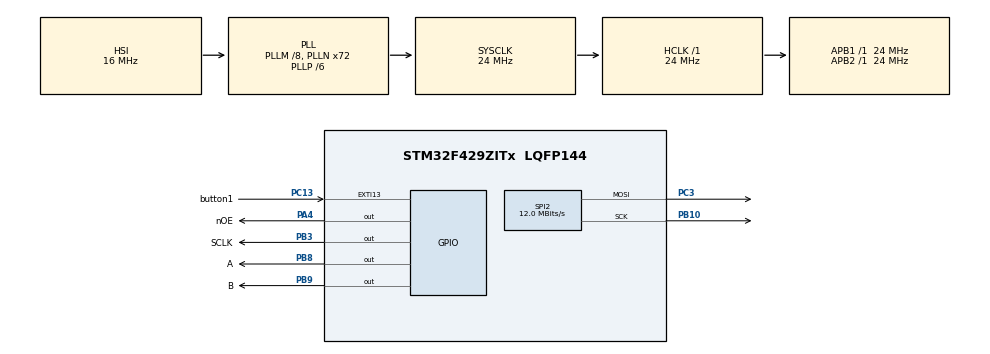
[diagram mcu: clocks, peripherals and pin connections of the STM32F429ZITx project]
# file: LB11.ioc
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Mcu.Family=STM32F4
Mcu.Name=STM32F429ZITx
Mcu.Package=LQFP144
NVIC.PriorityGroup=NVIC_PRIORITYGROUP_4
NVIC.TIM1_UP_TIM10_IRQn=true\:0\:0\:false\:false\:true\:true\:true\:true
PA13.Mode=Serial_Wire
PA13.Signal=SYS_JTMS-SWDIO
PA14.Mode=Serial_Wire
PA14.Signal=SYS_JTCK-SWCLK
PA4.GPIO_Label=nOE
PA4.Signal=GPIO_Output
PB10.Mode=TX_Only_Simplex_Unidirect_Master
PB10.Signal=SPI2_SCK
PB3.GPIO_Label=SCLK
PB3.Signal=GPIO_Output
PB8.GPIO_Label=A
PB8.Signal=GPIO_Output
PB9.GPIO_Label=B
PB9.Signal=GPIO_Output
PC13.GPIO_Label=button1
PC13.Signal=GPXTI13
PC3.Mode=TX_Only_Simplex_Unidirect_Master
PC3.Signal=SPI2_MOSI
PH0/OSC_IN.Mode=HSE-External-Oscillator
PH0/OSC_IN.Signal=RCC_OSC_IN
PH1/OSC_OUT.Mode=HSE-External-Oscillator
PH1/OSC_OUT.Signal=RCC_OSC_OUT
ProjectManager.HeapSize=0x200
ProjectManager.StackSize=0x400
ProjectManager.TargetToolchain=STM32CubeIDE
RCC.48MHZClocksFreq_Value=36000000
RCC.AHBFreq_Value=24000000
RCC.APB1Freq_Value=24000000
RCC.APB1TimFreq_Value=24000000
RCC.APB2Freq_Value=24000000
RCC.APB2TimFreq_Value=24000000
RCC.CortexFreq_Value=24000000
RCC.HCLKFreq_Value=24000000
RCC.HSE_VALUE=25000000
RCC.HSI_VALUE=16000000
RCC.LSE_VALUE=32768
RCC.PLLM=8
RCC.PLLN=72
RCC.PLLP=RCC_PLLP_DIV6
RCC.SYSCLKFreq_VALUE=24000000
RCC.SYSCLKSource=RCC_SYSCLKSOURCE_PLLCLK
RCC.VCOOutputFreq_Value=144000000
SPI2.CalculateBaudRate=12.0 MBits/s
SPI2.Direction=SPI_DIRECTION_2LINES
SPI2.Mode=SPI_MODE_MASTER
SPI2.VirtualType=VM_MASTER
TIM1.Period=1000-1
TIM1.Prescaler=180-1
VP_TIM1_VS_ClockSourceINT.Mode=Internal
board=custom

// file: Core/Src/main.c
/* USER CODE BEGIN Header */
/**
  ******************************************************************************
  * @file           : main.c
  * @brief          : Main program body
  ******************************************************************************
  * @attention
  *
  * Copyright (c) 2023 STMicroelectronics.
  * All rights reserved.
  *
  * This software is licensed under terms that can be found in the LICENSE file
  * in the root directory of this software component.
  * If no LICENSE file comes with this software, it is provided AS-IS.
  *
  ******************************************************************************
  */
/* USER CODE END Header */
#include "main.h"
#include "spi.h"
#include "tim.h"
#include "gpio.h"

/* USER CODE BEGIN PV */
#define f6x8_MONO_WIDTH 6
#define WIDTH 32
#define HEIGHT 16
#define MAX_LENGTH 100
/* USER CODE END PV */

void SystemClock_Config(void);

/* USER CODE BEGIN 0 */
int16_t X = 32;
extern volatile int dvij =1;
extern volatile uint16_t fps = 0;
int xs = 12; // координата по оси х панели
int ys = 13; // координата по оси y панели
int count = 0;  // счетчик ударов об стенки
int difficulty = 30; // скорость мяча
int ballX = WIDTH / 2;  // начальная позиция мяча по х
int ballY = HEIGHT / 2; // начальная позиция мяча по у
int ballSpeedX = 1;  // начальная скорость мяча по х
int ballSpeedY = 1;  // начальная скорость мяча по у
volatile uint32_t inter_time = 0; // переменная импортированная из таймера для реализации движения мяча
int time_last = 0; // переменная времени
extern uint8_t data1[16], data2[16], data3[16], data4[16];
int button1; // переменная кнопки
void disp_row(int row){

	  if (row == 0){

		  for(uint8_t i=0; i<6; i++){
		  		HAL_SPI_Transmit(&hspi2, &data1, 16, 10);
		  }

		  HAL_GPIO_WritePin(SCLK_GPIO_Port, SCLK_Pin, GPIO_PIN_RESET);
		  HAL_GPIO_WritePin(SCLK_GPIO_Port, SCLK_Pin, GPIO_PIN_SET);

		  HAL_GPIO_WritePin(A_GPIO_Port, A_Pin, GPIO_PIN_RESET);
		  HAL_GPIO_WritePin(B_GPIO_Port, B_Pin, GPIO_PIN_RESET);
	  }
	  if (row == 1){

		  for(uint8_t i=0; i<6; i++){
		  		HAL_SPI_Transmit(&hspi2, &data2, 16, 10);
		  }

		  HAL_GPIO_WritePin(SCLK_GPIO_Port, SCLK_Pin, GPIO_PIN_RESET);
		  HAL_GPIO_WritePin(SCLK_GPIO_Port, SCLK_Pin, GPIO_PIN_SET);

		  HAL_GPIO_WritePin(A_GPIO_Port, A_Pin, GPIO_PIN_SET);
		  HAL_GPIO_WritePin(B_GPIO_Port, B_Pin, GPIO_PIN_RESET);
	  }

	  if (row == 2){

		  for(uint8_t i=0; i<6; i++){
		  		HAL_SPI_Transmit(&hspi2, &data3, 16, 10);
		  }

		  HAL_GPIO_WritePin(SCLK_GPIO_Port, SCLK_Pin, GPIO_PIN_RESET);
		  HAL_GPIO_WritePin(SCLK_GPIO_Port, SCLK_Pin, GPIO_PIN_SET);

		  HAL_GPIO_WritePin(A_GPIO_Port, A_Pin, GPIO_PIN_RESET);
		  HAL_GPIO_WritePin(B_GPIO_Port, B_Pin, GPIO_PIN_SET);
	  }

	  if (row == 3){

		  for(uint8_t i=0; i<6; i++){
		  		HAL_SPI_Transmit(&hspi2, &data4, 16, 10);
		  }

		  HAL_GPIO_WritePin(SCLK_GPIO_Port, SCLK_Pin, GPIO_PIN_RESET);
		  HAL_GPIO_WritePin(SCLK_GPIO_Port, SCLK_Pin, GPIO_PIN_SET);

		  HAL_GPIO_WritePin(A_GPIO_Port, A_Pin, GPIO_PIN_SET);
		  HAL_GPIO_WritePin(B_GPIO_Port, B_Pin, GPIO_PIN_SET);
	  }

	  HAL_GPIO_WritePin(nOE_GPIO_Port, nOE_Pin, GPIO_PIN_SET);
		  for(uint32_t x=0; x<=500; x++) {};
	 HAL_GPIO_WritePin(nOE_GPIO_Port, nOE_Pin, GPIO_PIN_RESET);
  }
// функция отвечающая за движения мяча
void Ball() {
	if (inter_time >= time_last) {  // главное условие для срабатывания движения мяча
		ballX = ballX + ballSpeedX; // добавление скорости по х
		ballY = ballY + ballSpeedY; // добавление скорости по у
		if (ballX == 0 || ballX == 31) { // смотрит находится на координате стены или нет
			ballSpeedX = -ballSpeedX; // обратное направление
		}
		if (ballY == 0 || ballY == 15)  { // смотрит находится возле стенки или нет
			ballSpeedY = -ballSpeedY; // меняет направление
		} else if ((ballY == 12 || ballY == 14) && (ballX >= xs && ballX <= (xs + 7))) // условие верхнего и нижнего отбива от платформы
		{
			if (ballY == 12){ // если шарик находится выше платформы
				ballSpeedY = -1; // изменение направления
				count++;        // счетчик +1 тк ударился об платформу
			} else if (ballY == 14){ // если шарик находится ниже платформы
				ballSpeedY = 1; // изменение направления
				count++; // добавления +1 тк ударился об платформу
			}
		} else if (ballY == 13 && (ballX >= xs && ballX <= (xs + 7))){  // условие бокового отбива от платформы
			ballSpeedX = -ballSpeedX; // изменение направления
			count++; // добавления +1 тк ударился
		}
		time_last = inter_time + difficulty;  // задается время когда шарик должен обработать свое положение

		if ((ballX == 0 || ballX == 31) || (ballY == 0 || ballY == 15)) { // проверяет удар об стену
			count++; // добавления +1 тк ударился
		}
	}

}

/* USER CODE END 0 */

int main(void)
{

  /* MCU Configuration--------------------------------------------------------*/

  /* Reset of all peripherals, Initializes the Flash interface and the Systick. */
  HAL_Init();

  /* Configure the system clock */
  SystemClock_Config();

  /* Initialize all configured peripherals */
  MX_GPIO_Init();
  MX_SPI2_Init(); // обьявление SPU
  MX_TIM1_Init(); // обьявление таймера
  HAL_TIM_Base_Start_IT(&htim1); // запуск таймера
  HAL_GPIO_WritePin(nOE_GPIO_Port, nOE_Pin, GPIO_PIN_RESET);

  /* Infinite loop */
  /* USER CODE BEGIN WHILE */
  while (1)
  {
	  Ball(); // вызов функции шарика
    /* USER CODE END WHILE */
	  if (HAL_GPIO_ReadPin(button1_GPIO_Port, button1_Pin)) // обьявление кнопки под переменной буттон1
	  		{
	  			dvij = -1; // если срабатывает координата отнимается
	  		}
	  		else
	  		{
	  			dvij = 1; // иначе +1

	  		}
	  if(fps == 1) { // если условие соответствует  (обновление раз в сек)
			int arr_xs[5] = {xs, xs+2, xs+4, xs+2, xs};  //обьявление массиово с коорд (массив для того чтобы проверять каллизию и чтобы они обнавлялись правильно (динамически))
			int arr_ys[5] = {ys-2, ys-1, ys, ys+1, ys+2}; // обьявление массива с коорд (массив для того чтобы проверять каллизию и чтобы они обнавлялись правильно (динамически))
		  xs = xs + dvij; // изменение координаты чтобы платформа двигалас
		  if (xs>24) xs =24; // чтобы не ушло за коорд
		if (xs<0) xs = 0;   // так же чтобы не ушло за коорд
		fps = 0;  // обнуление переменной для коректной работы
	  }

	  disp1color_FillScreenbuff(0); // Процедура заполняет буфер кадра значением FillValue (можете нажать ctrl и навести на название функции и посмотреть как она реализована)
	  disp1color_DrawPixel(ballX,ballY,1); // рисовка шарика
	  disp1color_DrawLine(xs, ys, xs+7, ys); // рисовка платформы

	  	  disp1color_UpdateFromBuff(); //Перевод рассчитанных данных в массив
		  prepare_data(); //Разбиение массива на массивы под каждую строку

		  //Включение матрицы (построчно)

		  for(uint8_t i=0; i<20; i++){
		 			  disp_row(0);
		 			  disp_row(1);
		 			  disp_row(2);
		 			  disp_row(3);
		 		  }

  }
}

void SystemClock_Config(void)
{
  RCC_OscInitTypeDef RCC_OscInitStruct = {0};
  RCC_ClkInitTypeDef RCC_ClkInitStruct = {0};

  /** Configure the main internal regulator output voltage
  */
  __HAL_RCC_PWR_CLK_ENABLE();
  __HAL_PWR_VOLTAGESCALING_CONFIG(PWR_REGULATOR_VOLTAGE_SCALE3);

  /** Initializes the RCC Oscillators according to the specified parameters
  * in the RCC_OscInitTypeDef structure.
  */
  RCC_OscInitStruct.OscillatorType = RCC_OSCILLATORTYPE_HSI;
  RCC_OscInitStruct.HSIState = RCC_HSI_ON;
  RCC_OscInitStruct.HSICalibrationValue = RCC_HSICALIBRATION_DEFAULT;
  RCC_OscInitStruct.PLL.PLLState = RCC_PLL_ON;
  RCC_OscInitStruct.PLL.PLLSource = RCC_PLLSOURCE_HSI;
  RCC_OscInitStruct.PLL.PLLM = 8;
  RCC_OscInitStruct.PLL.PLLN = 72;
  RCC_OscInitStruct.PLL.PLLP = RCC_PLLP_DIV6;
  RCC_OscInitStruct.PLL.PLLQ = 4;
  if (HAL_RCC_OscConfig(&RCC_OscInitStruct) != HAL_OK)
  {
    Error_Handler();
  }

  /** Initializes the CPU, AHB and APB buses clocks
  */
  RCC_ClkInitStruct.ClockType = RCC_CLOCKTYPE_HCLK|RCC_CLOCKTYPE_SYSCLK
                              |RCC_CLOCKTYPE_PCLK1|RCC_CLOCKTYPE_PCLK2;
  RCC_ClkInitStruct.SYSCLKSource = RCC_SYSCLKSOURCE_PLLCLK;
  RCC_ClkInitStruct.AHBCLKDivider = RCC_SYSCLK_DIV1;
  RCC_ClkInitStruct.APB1CLKDivider = RCC_HCLK_DIV1;
  RCC_ClkInitStruct.APB2CLKDivider = RCC_HCLK_DIV1;

  if (HAL_RCC_ClockConfig(&RCC_ClkInitStruct, FLASH_LATENCY_0) != HAL_OK)
  {
    Error_Handler();
  }
}

void Error_Handler(void)
{
  __disable_irq();
  while (1)
  {
  }
}
